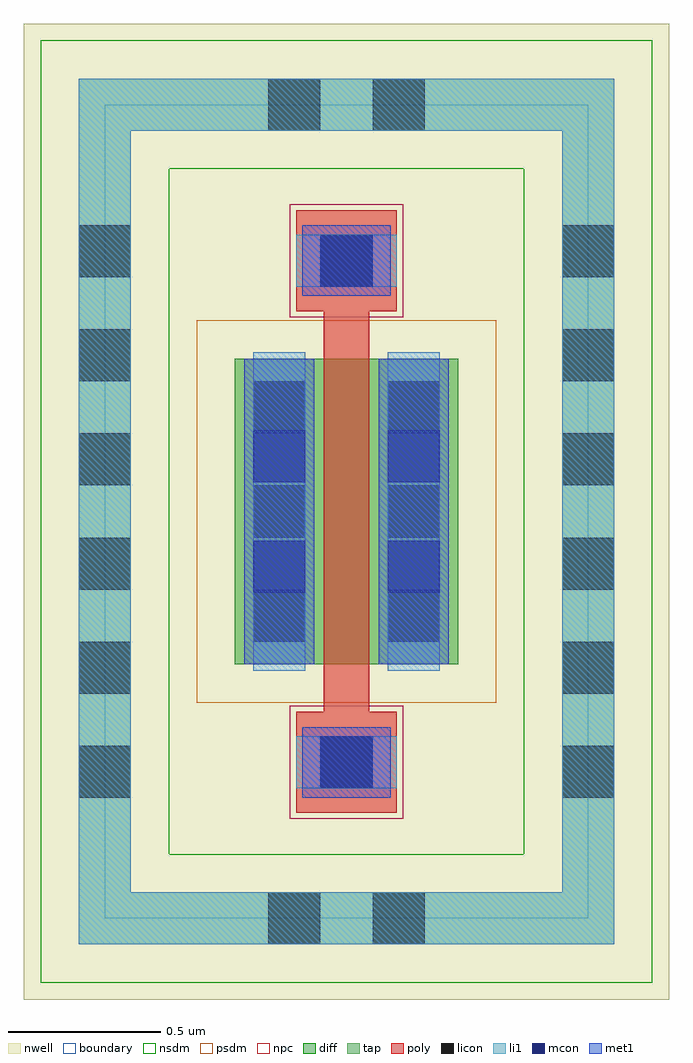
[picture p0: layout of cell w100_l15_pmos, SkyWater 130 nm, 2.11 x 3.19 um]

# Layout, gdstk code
import gdstk
lib = gdstk.Library(unit=1e-6, precision=1e-09)
def R(c, l, rs):  # rectangles x0, y0, x1, y1
    for r in rs: c.add(gdstk.rectangle(r[:2], r[2:], *l))
def A(c, l, x, y, w, h, nx, ny, dx, dy):  # array of equal rectangles
    R(c, l, [(x+i*dx, y+j*dy, x+i*dx+w, y+j*dy+h) for i in range(nx) for j in range(ny)])
nwell = (64, 20)
diff = (65, 20)
tap = (65, 44)
poly = (66, 20)
licon = (66, 44)
li1 = (67, 20)
mcon = (67, 44)
met1 = (68, 20)
nsdm = (93, 44)
psdm = (94, 20)
npc = (95, 20)
boundary = (235, 4)

sky130_fd_pr__pfet_01v8 = lib.new_cell('sky130_fd_pr__pfet_01v8')

w100_l15_pmos = lib.new_cell('w100_l15_pmos')
R(w100_l15_pmos, nwell, [(-1.055,-1.595,1.055,1.595)])
R(w100_l15_pmos, diff, [(-0.365,-0.5,0.365,0.5)])
R(w100_l15_pmos, tap, [(-0.875,-1.415,0.875,-1.245), (-0.875,-1.245,-0.705,1.245), (0.705,-1.245,0.875,1.245), (-0.875,1.245,0.875,1.415)])
R(w100_l15_pmos, poly, [(-0.165,-0.985,0.165,-0.655), (-0.075,-0.655,0.075,0.655), (-0.165,0.655,0.165,0.985)])
A(w100_l15_pmos, licon, -0.875, -0.935, 0.17, 0.17, 1, 6, 0, 0.34)
A(w100_l15_pmos, licon, 0.705, -0.935, 0.17, 0.17, 1, 6, 0, 0.34)
A(w100_l15_pmos, licon, -0.305, -0.425, 0.17, 0.17, 1, 3, 0, 0.34)
A(w100_l15_pmos, licon, 0.135, -0.425, 0.17, 0.17, 1, 3, 0, 0.34)
R(w100_l15_pmos, licon, [(-0.255,-1.415,-0.085,-1.245), (0.085,-1.415,0.255,-1.245), (-0.085,-0.905,0.085,-0.735), (-0.085,0.735,0.085,0.905), (-0.255,1.245,-0.085,1.415), (0.085,1.245,0.255,1.415)])
R(w100_l15_pmos, li1, [(-0.875,-1.415,0.875,-1.245), (-0.875,-1.245,-0.705,1.245), (0.705,-1.245,0.875,1.245), (-0.165,-0.905,0.165,-0.735), (-0.305,-0.52,-0.135,0.52), (0.135,-0.52,0.305,0.52), (-0.165,0.735,0.165,0.905), (-0.875,1.245,0.875,1.415)])
R(w100_l15_pmos, mcon, [(-0.085,-0.905,0.085,-0.735), (-0.305,-0.265,-0.135,-0.095), (0.135,-0.265,0.305,-0.095), (-0.305,0.095,-0.135,0.265), (0.135,0.095,0.305,0.265), (-0.085,0.735,0.085,0.905)])
R(w100_l15_pmos, met1, [(-0.145,-0.935,0.145,-0.705), (-0.335,-0.5,-0.105,0.5), (0.105,-0.5,0.335,0.5), (-0.145,0.705,0.145,0.935)])
R(w100_l15_pmos, nsdm, [(-1,-1.54,1,-1.12), (-1,-1.12,-0.58,1.12), (0.58,-1.12,1,1.12), (-1,1.12,1,1.54)])
R(w100_l15_pmos, psdm, [(-0.49,-0.625,0.49,0.625)])
R(w100_l15_pmos, npc, [(-0.185,-1.005,0.185,-0.635), (-0.185,0.635,0.185,1.005)])
R(w100_l15_pmos, boundary, [(-0.79,-1.33,0.79,1.33)])
w100_l15_pmos.add(gdstk.Reference(sky130_fd_pr__pfet_01v8, (0,0)))

lib.write_gds('w100_l15_pmos.gds')
